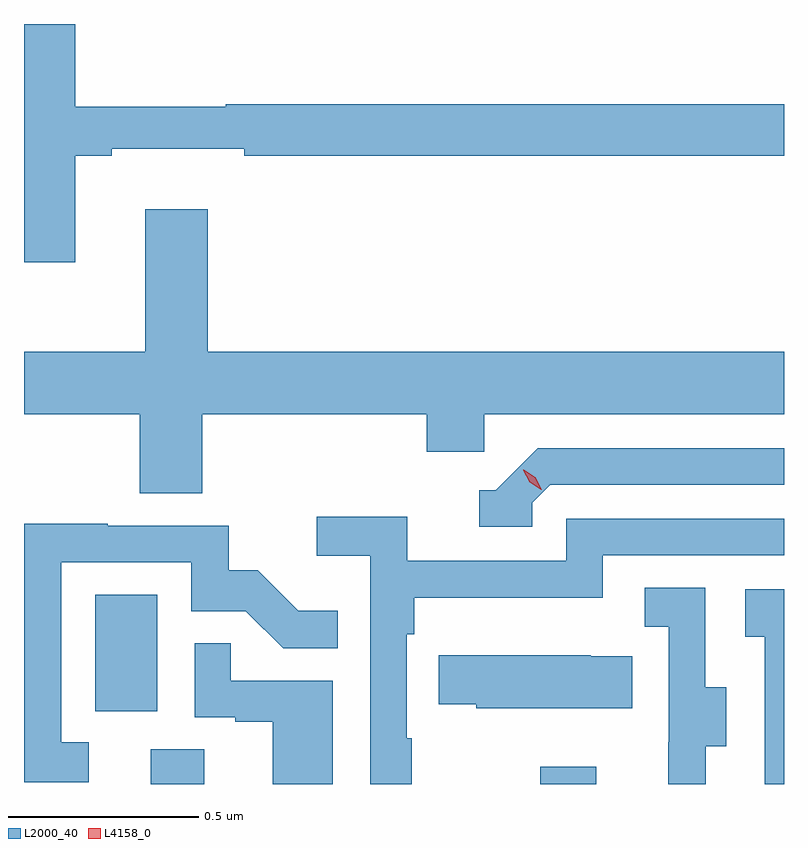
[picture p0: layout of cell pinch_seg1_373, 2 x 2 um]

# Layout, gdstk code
import gdstk
lib = gdstk.Library(unit=1e-6, precision=1e-09)
def R(c, l, rs):  # rectangles x0, y0, x1, y1
    for r in rs: c.add(gdstk.rectangle(r[:2], r[2:], *l))
def P(c, l, *ps):  # polygons
    for p in ps: c.add(gdstk.Polygon(p, *l))
L2000_40 = (2000, 40)
L4158_0 = (4158, 0)

pinch_seg1_373 = lib.new_cell('pinch_seg1_373')
R(pinch_seg1_373, L2000_40, [(956.231,540.103,956.371,540.194), (957.256,540.103,957.403,540.148), (956.084,540.294,956.248,540.601)])
P(pinch_seg1_373, L2000_40, [(956.032,541.756),(956.128,541.756),(956.128,541.775),(956.476,541.775),(956.476,541.756),(957.897,541.756),(957.897,541.892),(956.428,541.892),(956.428,541.885),(956.032,541.885),(956.032,542.103),(955.897,542.103),(955.897,541.476),(956.032,541.476)],
  [(956.366,541.076),(956.957,541.076),(956.957,540.978),(957.108,540.978),(957.108,541.076),(957.897,541.076),(957.897,541.24),(956.38,541.24),(956.38,541.615),(956.216,541.615),(956.216,541.24),(955.897,541.24),(955.897,541.076),(956.201,541.076),(956.201,540.868),(956.366,540.868)],
  [(957.234,540.843),(957.282,540.891),(957.897,540.891),(957.897,540.987),(957.249,540.987),(957.138,540.876),(957.095,540.876),(957.095,540.78),(957.234,540.78)],
  [(956.917,540.224),(956.904,540.224),(956.904,540.497),(956.924,540.497),(956.924,540.593),(957.42,540.593),(957.42,540.705),(957.897,540.705),(957.897,540.801),(957.324,540.801),(957.324,540.69),(956.906,540.69),(956.906,540.806),(956.667,540.806),(956.667,540.704),(956.808,540.704),(956.808,540.103),(956.917,540.103)],
  [(956.068,540.213),(955.995,540.213),(955.995,540.687),(956.337,540.687),(956.337,540.558),(956.481,540.558),(956.579,540.46),(956.723,540.46),(956.723,540.559),(956.619,540.559),(956.512,540.666),(956.436,540.666),(956.436,540.783),(956.117,540.783),(956.117,540.788),(955.897,540.788),(955.897,540.108),(956.068,540.108)],
  [(957.691,540.202),(957.745,540.202),(957.745,540.357),(957.69,540.357),(957.69,540.62),(957.531,540.62),(957.531,540.517),(957.594,540.517),(957.594,540.213),(957.593,540.213),(957.593,540.103),(957.691,540.103)],
  [(957.897,540.615),(957.795,540.615),(957.795,540.491),(957.846,540.491),(957.846,540.103),(957.897,540.103)],
  [(956.71,540.375),(956.441,540.375),(956.441,540.473),(956.346,540.473),(956.346,540.279),(956.453,540.279),(956.453,540.267),(956.552,540.267),(956.552,540.103),(956.71,540.103)],
  [(957.497,540.439),(957.389,540.439),(957.389,540.442),(956.989,540.442),(956.989,540.313),(957.087,540.313),(957.087,540.302),(957.497,540.302)])
P(pinch_seg1_373, L4158_0, [(957.258,540.878),(957.228,540.897),(957.211,540.929),(957.211,540.93),(957.212,540.93),(957.242,540.91),(957.259,540.878),(957.259,540.878)])

lib.write_gds('pinch_seg1_373.gds')
